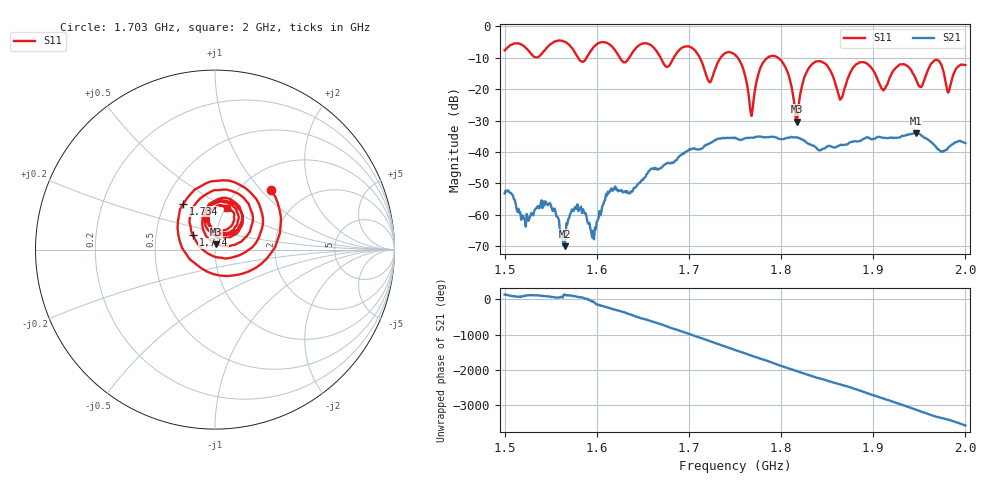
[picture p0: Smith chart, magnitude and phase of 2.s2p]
! NanoVNA-App by SYSJOINT et al v1.1.209 (+OD18)
! Date: 2026-01-21 14:47:03
! Start: 1,5GHz Stop: 2GHz Points: 501
! S-Parameter data: F S11 S21 S12 S22
# Hz S RI R 50
!  Frequency  S11_Real  S11_Imag  S21_Real  S21_Imag  S12_Real  S12_Imag  S22_Real  S22_Imag
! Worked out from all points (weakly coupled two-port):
!   501 points, 1.5 GHz to 2 GHz, reference 50 ohm
!   highest |S21| = -33.96 dB at 1.946 GHz (marker M1); lowest = -70.0 dB at 1.565 GHz (marker M2)
!   lowest |S11| = -30.3 dB at 1.817 GHz (marker M3), VSWR 1.06, Z = 50.5 + j3.03 ohm
!   |S11| at or under -10 dB: 1.712 GHz to 1.734 GHz (22.52 MHz wide, 1.31 % of centre); 1.753 GHz to 1.785 GHz (32.07 MHz wide, 1.81 % of centre); 1.797 GHz to end of sweep (the widest 3 of 6)
!   S12 and S22 are empty: the file has one direction only
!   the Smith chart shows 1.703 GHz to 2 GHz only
!   S11 on the Smith chart (normalised r, x): 1.703 GHz: 1.36, +1.14; 1.734 GHz: 0.62, +0.35; 1.774 GHz: 0.77, +0.13; 2 GHz: 1.02, +0.51
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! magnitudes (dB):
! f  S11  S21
! 1.5 GHz  -7.6  -53.2
! 1.521 GHz  -6.3  -61.2
! 1.548 GHz  -6.1  -56.7
! 1.565 GHz  -4.8  -70.0
! 1.584 GHz  -11.2  -59.5
! 1.596 GHz  -6.8  -65.1
! 1.614 GHz  -5.7  -52.7
! 1.667 GHz  -8.8  -45.5
! 1.703 GHz  -6.8  -39.1
! 1.722 GHz  -17.7  -37.4
! 1.734 GHz  -10.2  -35.7
! 1.75 GHz  -9.0  -35.4
! 1.768 GHz  -28.5  -35.4
! 1.774 GHz  -16.7  -35.1
! 1.798 GHz  -10.3  -35.8
! 1.817 GHz  -30.3  -35.3
! 1.834 GHz  -12.0  -37.9
! 1.865 GHz  -23.0  -37.6
! 1.884 GHz  -11.6  -36.6
! 1.917 GHz  -17.1  -35.6
! 1.946 GHz  -16.6  -34.0
! 2 GHz  -12.3  -37.1
